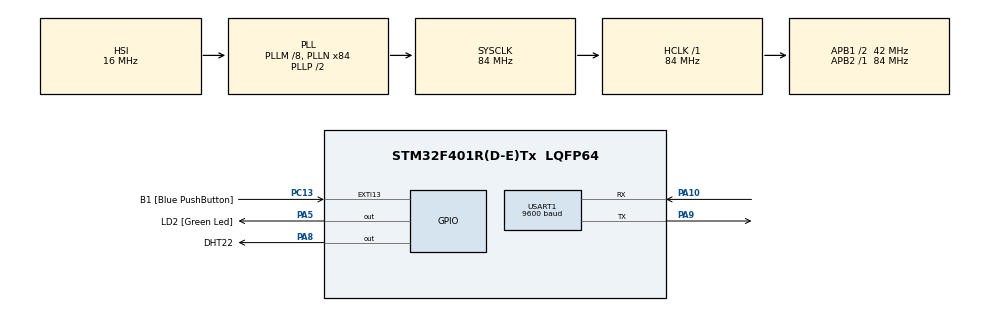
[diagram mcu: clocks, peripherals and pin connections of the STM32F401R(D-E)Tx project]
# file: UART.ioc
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Mcu.Family=STM32F4
Mcu.Name=STM32F401R(D-E)Tx
Mcu.Package=LQFP64
NVIC.PriorityGroup=NVIC_PRIORITYGROUP_0
PA10.Mode=Asynchronous
PA10.Signal=USART1_RX
PA13.GPIO_Label=TMS
PA13.Mode=Serial_Wire
PA13.Signal=SYS_JTMS-SWDIO
PA14.GPIO_Label=TCK
PA14.Mode=Serial_Wire
PA14.Signal=SYS_JTCK-SWCLK
PA5.GPIO_Label=LD2 [Green Led]
PA5.GPIO_Mode=GPIO_MODE_OUTPUT_PP
PA5.GPIO_PuPd=GPIO_NOPULL
PA5.GPIO_Speed=GPIO_SPEED_FREQ_LOW
PA5.Signal=GPIO_Output
PA8.GPIO_Label=DHT22
PA8.Signal=GPIO_Output
PA9.Mode=Asynchronous
PA9.Signal=USART1_TX
PC13-ANTI_TAMP.GPIO_Label=B1 [Blue PushButton]
PC13-ANTI_TAMP.GPIO_ModeDefaultEXTI=GPIO_MODE_IT_FALLING
PC13-ANTI_TAMP.GPIO_PuPd=GPIO_NOPULL
PC13-ANTI_TAMP.Signal=GPXTI13
PC14-OSC32_IN.Mode=LSE-External-Oscillator
PC14-OSC32_IN.Signal=RCC_OSC32_IN
PC15-OSC32_OUT.Mode=LSE-External-Oscillator
PC15-OSC32_OUT.Signal=RCC_OSC32_OUT
PH0\ -\ OSC_IN.Mode=HSE-External-Oscillator
PH0\ -\ OSC_IN.Signal=RCC_OSC_IN
PH1\ -\ OSC_OUT.Mode=HSE-External-Oscillator
PH1\ -\ OSC_OUT.Signal=RCC_OSC_OUT
ProjectManager.HeapSize=0x200
ProjectManager.StackSize=0x400
ProjectManager.TargetToolchain=STM32CubeIDE
RCC.48MHZClocksFreq_Value=24000000
RCC.AHBFreq_Value=84000000
RCC.APB1CLKDivider=RCC_HCLK_DIV2
RCC.APB1Freq_Value=42000000
RCC.APB1TimFreq_Value=84000000
RCC.APB2Freq_Value=84000000
RCC.APB2TimFreq_Value=84000000
RCC.CortexFreq_Value=84000000
RCC.HCLKFreq_Value=84000000
RCC.HSE_VALUE=8000000
RCC.HSI_VALUE=16000000
RCC.PLLM=8
RCC.PLLN=84
RCC.PLLQ=7
RCC.SYSCLKFreq_VALUE=84000000
RCC.SYSCLKSource=RCC_SYSCLKSOURCE_PLLCLK
RCC.VCOOutputFreq_Value=168000000
TIM1.Prescaler=84-1
USART1.BaudRate=9600
USART1.VirtualMode=VM_ASYNC
VP_TIM1_VS_ClockSourceINT.Mode=Internal
board=NUCLEO-F401RE

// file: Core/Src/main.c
/* USER CODE BEGIN Header */
/**
  ******************************************************************************
  * @file           : main.c
  * @brief          : Main program body
  ******************************************************************************
  * @attention
  *
  * Copyright (c) 2022 STMicroelectronics.
  * All rights reserved.
  *
  * This software is licensed under terms that can be found in the LICENSE file
  * in the root directory of this software component.
  * If no LICENSE file comes with this software, it is provided AS-IS.
  *
  ******************************************************************************
  */
/* USER CODE END Header */
#include "main.h"
#include "stdio.h"

uint8_t hum_Byte1,hum_Byte2;
uint8_t tem_Byte1,temp_Byte2;
uint8_t presence;
uint16_t Hum,Temp,sum;
float humidity,temp ;
TIM_HandleTypeDef htim1;

UART_HandleTypeDef huart1;

void SystemClock_Config(void);
static void MX_GPIO_Init(void);
static void MX_USART1_UART_Init(void);
static void MX_TIM1_Init(void);

/* USER CODE BEGIN 0 */

// overwrite the _wirte function

int _write (int file, char *ptr, int len){
	int i=0;
	for (i=0;i<len;i++){
		ITM_SendChar((*ptr++));
	}
	return len;
}
/* USER CODE END 0 */

void Delay_us(uint16_t time){
	__HAL_TIM_SET_COUNTER(&htim1,0);
	while (__HAL_TIM_GET_COUNTER(&htim1)<time)
	{

	}
}
void Set_Pin_Output (GPIO_TypeDef *GPIOx, uint16_t GPIO_Pin)
{
	GPIO_InitTypeDef GPIO_InitStruct = {0};
	GPIO_InitStruct.Pin = GPIO_Pin;
	GPIO_InitStruct.Mode = GPIO_MODE_OUTPUT_PP;
	GPIO_InitStruct.Speed = GPIO_SPEED_FREQ_LOW;
	HAL_GPIO_Init(GPIOx, &GPIO_InitStruct);
}

void Set_Pin_Input (GPIO_TypeDef *GPIOx, uint16_t GPIO_Pin)
{
	GPIO_InitTypeDef GPIO_InitStruct = {0};
	GPIO_InitStruct.Pin = GPIO_Pin;
	GPIO_InitStruct.Mode = GPIO_MODE_INPUT;
	GPIO_InitStruct.Pull = GPIO_PULLUP;
	HAL_GPIO_Init(GPIOx, &GPIO_InitStruct);
}

void dht22_start(GPIO_TypeDef *GPIOx, uint16_t GPIO_Pin){
	Set_Pin_Output(GPIOx, GPIO_Pin);
	HAL_GPIO_WritePin(GPIOx, GPIO_Pin, 0);
	Delay_us(1200);//wait for > 1ms
	HAL_GPIO_WritePin(GPIOx, GPIO_Pin,1);
	Delay_us(30);
	Set_Pin_Input(GPIOx, GPIO_Pin);

}
uint8_t dht22_begin(GPIO_TypeDef *GPIOx, uint16_t GPIO_Pin){
	uint8_t res = 0 ;
	Delay_us(40);
	if ( !(HAL_GPIO_ReadPin(GPIOx, GPIO_Pin))){
		// if its not 1
		Delay_us(80);
		if (HAL_GPIO_ReadPin(GPIOx, GPIO_Pin)){
			res= 1 ;
		}
		else {
			res = -1;
		}
	}
	while (HAL_GPIO_ReadPin(GPIOx, GPIO_Pin));
	//printf("bgin done \n");
	// wait to go low
return res ;
}

uint8_t DHT22_Read(GPIO_TypeDef *GPIOx, uint16_t GPIO_Pin){
	uint8_t i=0,j;
	for (j=0;j<8;j++){

		while (!(HAL_GPIO_ReadPin(GPIOx, GPIO_Pin)));// it's not low
		Delay_us(40);
		if(!( HAL_GPIO_ReadPin(GPIOx, GPIO_Pin)))
		{
			i &= ~(1<<(7-j));
		}
		else {
			i |= (1<<(7-j));
		}
		while (HAL_GPIO_ReadPin(GPIOx, GPIO_Pin));

	}
	//printf("read done \n");
	return i ;

}
/**
  * @brief  The application entry point.
  * @retval int
  */uint8_t k = 10;
  char buff[50]={0};

int main(void)
{
  /* USER CODE BEGIN 1 */
//unsigned char test []= "hello\n\r";
  /* USER CODE END 1 */

  /* MCU Configuration--------------------------------------------------------*/

  /* Reset of all peripherals, Initializes the Flash interface and the Systick. */
  HAL_Init();

  /* Configure the system clock */
  SystemClock_Config();

  /* Initialize all configured peripherals */
  MX_GPIO_Init();
  MX_USART1_UART_Init();
  MX_TIM1_Init();
  /* USER CODE BEGIN 2 */
  HAL_TIM_Base_Start(&htim1);
  /* USER CODE END 2 */

  /* Infinite loop */
  /* USER CODE BEGIN WHILE */

      /* USER CODE BEGIN 3 */

    /* USER CODE END WHILE */

    /* USER CODE BEGIN 3 */

    /* USER CODE END WHILE */

    /* USER CODE BEGIN 3 */

    /* USER CODE END WHILE */

    /* USER CODE BEGIN 3 */
  //printf("starting the dht22\n\r");
  while (1)
  {//printf("starting the dht22\n");
    /* USER CODE END WHILE */

//printf("hii %u\n",k++);
/*
	   HAL_UART_Transmit(&huart1, test, sizeof(test),100);

	  HAL_Delay(1000); */
	 HAL_GPIO_TogglePin(GPIOA, GPIO_PIN_5);
	  dht22_start(DHT22_GPIO_Port, DHT22_Pin);
	  presence= dht22_begin(DHT22_GPIO_Port, DHT22_Pin);

	  //printf("persence: %u",presence);

if (presence ==1){

	  hum_Byte1= DHT22_Read(DHT22_GPIO_Port, DHT22_Pin);
	 // printf("hum_Byte1: %u\n",hum_Byte1);
	  hum_Byte2=DHT22_Read(DHT22_GPIO_Port, DHT22_Pin);
	 // printf("hum_Byte2: %u\n",hum_Byte2);
	  tem_Byte1=DHT22_Read(DHT22_GPIO_Port, DHT22_Pin);
	 // printf("temp_Byte1: %u\n",tem_Byte1);
	  temp_Byte2=DHT22_Read(DHT22_GPIO_Port, DHT22_Pin);
	 // printf("temp_Byte2: %u\n",temp_Byte2);
	  sum=DHT22_Read(DHT22_GPIO_Port, DHT22_Pin);
	 // printf("sum: %u\n",sum);
	//  if (sum == (hum_Byte1+hum_Byte2+tem_Byte1+temp_Byte2)){
		  Temp= ((tem_Byte1<<8)|temp_Byte2);
		  Hum = ((hum_Byte1<<8)|hum_Byte2);
	 // }
	  temp = (float) (Temp/10.0);
	  humidity = (float) (Hum/10.0) ;
	  //sprintf (buff,"[\"data\",{\"data\":\"%.2f\"}]\n",temp);//,humidity);
	  sprintf(buff,"{\"temp\":%.2f,\"hum\":%.2f}\n",temp,humidity);
	  //sprintf(buff,"%.2f\n",temp);
	  HAL_UART_Transmit(&huart1,(uint8_t*) buff, sizeof(buff),100);
	  //printf("TEMP: %.2f \n Hum: %.2f \n",temp,humidity);
	  //printf(buff);
	  sprintf (buff," ");//,humidity);

}
else {
	//printf("dht22 not detected");
}
	 //printf("hii %u\n",k++);
	  HAL_Delay(2000);

    /* USER CODE BEGIN 3 */
  }
  /* USER CODE END 3 */
}

void SystemClock_Config(void)
{
  RCC_OscInitTypeDef RCC_OscInitStruct = {0};
  RCC_ClkInitTypeDef RCC_ClkInitStruct = {0};

  /** Configure the main internal regulator output voltage
  */
  __HAL_RCC_PWR_CLK_ENABLE();
  __HAL_PWR_VOLTAGESCALING_CONFIG(PWR_REGULATOR_VOLTAGE_SCALE2);

  /** Initializes the RCC Oscillators according to the specified parameters
  * in the RCC_OscInitTypeDef structure.
  */
  RCC_OscInitStruct.OscillatorType = RCC_OSCILLATORTYPE_HSI;
  RCC_OscInitStruct.HSIState = RCC_HSI_ON;
  RCC_OscInitStruct.HSICalibrationValue = RCC_HSICALIBRATION_DEFAULT;
  RCC_OscInitStruct.PLL.PLLState = RCC_PLL_ON;
  RCC_OscInitStruct.PLL.PLLSource = RCC_PLLSOURCE_HSI;
  RCC_OscInitStruct.PLL.PLLM = 8;
  RCC_OscInitStruct.PLL.PLLN = 84;
  RCC_OscInitStruct.PLL.PLLP = RCC_PLLP_DIV2;
  RCC_OscInitStruct.PLL.PLLQ = 7;
  if (HAL_RCC_OscConfig(&RCC_OscInitStruct) != HAL_OK)
  {
    Error_Handler();
  }

  /** Initializes the CPU, AHB and APB buses clocks
  */
  RCC_ClkInitStruct.ClockType = RCC_CLOCKTYPE_HCLK|RCC_CLOCKTYPE_SYSCLK
                              |RCC_CLOCKTYPE_PCLK1|RCC_CLOCKTYPE_PCLK2;
  RCC_ClkInitStruct.SYSCLKSource = RCC_SYSCLKSOURCE_PLLCLK;
  RCC_ClkInitStruct.AHBCLKDivider = RCC_SYSCLK_DIV1;
  RCC_ClkInitStruct.APB1CLKDivider = RCC_HCLK_DIV2;
  RCC_ClkInitStruct.APB2CLKDivider = RCC_HCLK_DIV1;

  if (HAL_RCC_ClockConfig(&RCC_ClkInitStruct, FLASH_LATENCY_2) != HAL_OK)
  {
    Error_Handler();
  }
}

static void MX_TIM1_Init(void)
{

  TIM_ClockConfigTypeDef sClockSourceConfig = {0};
  TIM_MasterConfigTypeDef sMasterConfig = {0};

  htim1.Instance = TIM1;
  htim1.Init.Prescaler = 84-1;
  htim1.Init.CounterMode = TIM_COUNTERMODE_UP;
  htim1.Init.Period = 65535;
  htim1.Init.ClockDivision = TIM_CLOCKDIVISION_DIV1;
  htim1.Init.RepetitionCounter = 0;
  htim1.Init.AutoReloadPreload = TIM_AUTORELOAD_PRELOAD_DISABLE;
  if (HAL_TIM_Base_Init(&htim1) != HAL_OK)
  {
    Error_Handler();
  }
  sClockSourceConfig.ClockSource = TIM_CLOCKSOURCE_INTERNAL;
  if (HAL_TIM_ConfigClockSource(&htim1, &sClockSourceConfig) != HAL_OK)
  {
    Error_Handler();
  }
  sMasterConfig.MasterOutputTrigger = TIM_TRGO_RESET;
  sMasterConfig.MasterSlaveMode = TIM_MASTERSLAVEMODE_DISABLE;
  if (HAL_TIMEx_MasterConfigSynchronization(&htim1, &sMasterConfig) != HAL_OK)
  {
    Error_Handler();
  }

}

static void MX_USART1_UART_Init(void)
{

  huart1.Instance = USART1;
  huart1.Init.BaudRate = 9600;
  huart1.Init.WordLength = UART_WORDLENGTH_8B;
  huart1.Init.StopBits = UART_STOPBITS_1;
  huart1.Init.Parity = UART_PARITY_NONE;
  huart1.Init.Mode = UART_MODE_TX_RX;
  huart1.Init.HwFlowCtl = UART_HWCONTROL_NONE;
  huart1.Init.OverSampling = UART_OVERSAMPLING_16;
  if (HAL_UART_Init(&huart1) != HAL_OK)
  {
    Error_Handler();
  }

}

static void MX_GPIO_Init(void)
{
  GPIO_InitTypeDef GPIO_InitStruct = {0};

  /* GPIO Ports Clock Enable */
  __HAL_RCC_GPIOC_CLK_ENABLE();
  __HAL_RCC_GPIOH_CLK_ENABLE();
  __HAL_RCC_GPIOA_CLK_ENABLE();

  /*Configure GPIO pin Output Level */
  HAL_GPIO_WritePin(GPIOA, LD2_Pin|DHT22_Pin, GPIO_PIN_RESET);

  /*Configure GPIO pin : B1_Pin */
  GPIO_InitStruct.Pin = B1_Pin;
  GPIO_InitStruct.Mode = GPIO_MODE_IT_FALLING;
  GPIO_InitStruct.Pull = GPIO_NOPULL;
  HAL_GPIO_Init(B1_GPIO_Port, &GPIO_InitStruct);

  /*Configure GPIO pins : LD2_Pin DHT22_Pin */
  GPIO_InitStruct.Pin = LD2_Pin|DHT22_Pin;
  GPIO_InitStruct.Mode = GPIO_MODE_OUTPUT_PP;
  GPIO_InitStruct.Pull = GPIO_NOPULL;
  GPIO_InitStruct.Speed = GPIO_SPEED_FREQ_LOW;
  HAL_GPIO_Init(GPIOA, &GPIO_InitStruct);

}

void Error_Handler(void)
{
  __disable_irq();
  while (1)
  {
  }
}
